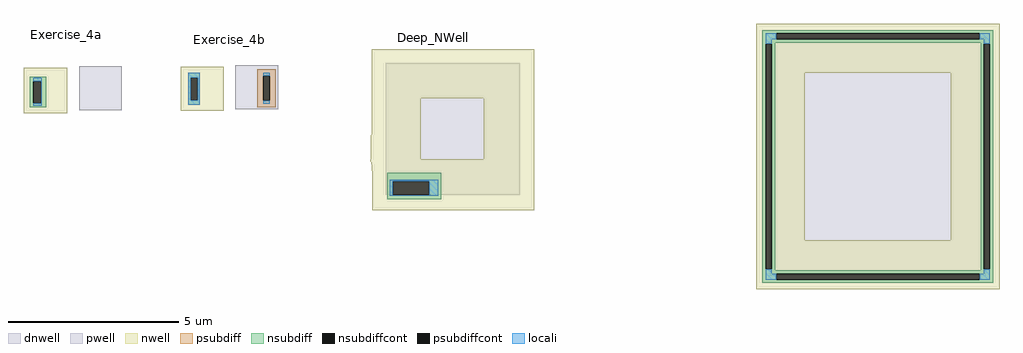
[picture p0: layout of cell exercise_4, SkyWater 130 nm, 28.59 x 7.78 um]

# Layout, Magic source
magic
tech sky130A
magscale 1 2
<< dnwell >>
rect 1840 -928 2624 -158
rect 4090 -1402 5356 -6
<< nwell >>
rect -282 -452 -26 -184
rect 640 -436 890 -178
rect 1759 -363 2711 -77
rect 1759 -578 2045 -363
rect 1755 -580 2045 -578
rect 1753 -720 2045 -580
rect 2415 -720 2711 -363
rect 1753 -722 2711 -720
rect 1750 -734 2711 -722
rect 1754 -750 2711 -734
rect 1758 -788 2711 -750
rect 1760 -1020 2711 -788
rect 4010 -212 5436 74
rect 4010 -1196 4296 -212
rect 5150 -1196 5436 -212
rect 4010 -1482 5436 -1196
<< pwell >>
rect 44 -434 294 -176
rect 960 -428 1210 -170
<< psubdiff >>
rect 1086 -232 1196 -192
rect 1086 -378 1124 -232
rect 1162 -378 1196 -232
rect 1086 -416 1196 -378
<< nsubdiff >>
rect 4047 17 5399 37
rect 4047 -17 4127 17
rect 5319 -17 5399 17
rect 4047 -37 5399 -17
rect 4047 -43 4121 -37
rect -246 -264 -148 -238
rect -246 -392 -224 -264
rect -178 -392 -148 -264
rect -246 -416 -148 -392
rect 682 -244 752 -214
rect 682 -374 698 -244
rect 738 -374 752 -244
rect 682 -400 752 -374
rect 1848 -848 2166 -800
rect 1848 -930 1880 -848
rect 2096 -930 2166 -848
rect 1848 -954 2166 -930
rect 4047 -1365 4067 -43
rect 4101 -1365 4121 -43
rect 4047 -1371 4121 -1365
rect 5325 -43 5399 -37
rect 5325 -1365 5345 -43
rect 5379 -1365 5399 -43
rect 5325 -1371 5399 -1365
rect 4047 -1391 5399 -1371
rect 4047 -1425 4127 -1391
rect 5319 -1425 5399 -1391
rect 4047 -1445 5399 -1425
<< psubdiffcont >>
rect 1124 -378 1162 -232
<< nsubdiffcont >>
rect 4127 -17 5319 17
rect -224 -392 -178 -264
rect 698 -374 738 -244
rect 1880 -930 2096 -848
rect 4067 -1365 4101 -43
rect 5345 -1365 5379 -43
rect 4127 -1425 5319 -1391
<< locali >>
rect 4067 -17 4127 17
rect 5319 -17 5379 17
rect 4067 -43 4101 -17
rect 682 -244 752 -214
rect -224 -264 -176 -244
rect -178 -392 -176 -264
rect -224 -408 -176 -392
rect 682 -374 698 -244
rect 738 -374 752 -244
rect 682 -400 752 -374
rect 1124 -232 1162 -214
rect 1124 -396 1162 -378
rect 1864 -848 2148 -840
rect 1864 -930 1880 -848
rect 2096 -930 2148 -848
rect 1864 -934 2148 -930
rect 4067 -1391 4101 -1365
rect 5345 -43 5379 -17
rect 5345 -1391 5379 -1365
rect 4067 -1425 4127 -1391
rect 5319 -1425 5379 -1391
<< labels >>
flabel space -28 8 -28 8 0 FreeSans 320 0 0 0 Exercise_4a
flabel space -26 -68 -26 -68 0 FreeSans 320 0 0 0 Wells
flabel space 926 -16 926 -16 0 FreeSans 320 0 0 0 Exercise_4b
flabel space 920 -84 920 -84 0 FreeSans 320 0 0 0 Wells
flabel space 2122 -8 2122 -8 0 FreeSans 320 0 0 0 Deep_NWell
flabel space 1936 68 1936 68 0 FreeSans 320 0 0 0 Exercise_4c
<< end >>
